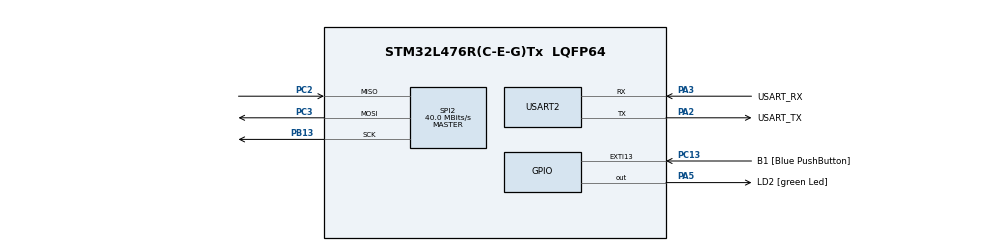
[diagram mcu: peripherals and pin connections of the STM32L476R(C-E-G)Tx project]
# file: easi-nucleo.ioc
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Mcu.Family=STM32L4
Mcu.Name=STM32L476R(C-E-G)Tx
Mcu.Package=LQFP64
NVIC.PriorityGroup=NVIC_PRIORITYGROUP_4
PA13\ (JTMS-SWDIO).GPIO_Label=TMS
PA13\ (JTMS-SWDIO).Mode=Serial_Wire
PA13\ (JTMS-SWDIO).Signal=SYS_JTMS-SWDIO
PA14\ (JTCK-SWCLK).GPIO_Label=TCK
PA14\ (JTCK-SWCLK).Mode=Serial_Wire
PA14\ (JTCK-SWCLK).Signal=SYS_JTCK-SWCLK
PA2.GPIO_Label=USART_TX
PA2.GPIO_Mode=GPIO_MODE_AF_PP
PA2.GPIO_PuPd=GPIO_NOPULL
PA2.GPIO_Speed=GPIO_SPEED_FREQ_VERY_HIGH
PA2.Mode=Asynchronous
PA2.Signal=USART2_TX
PA3.GPIO_Label=USART_RX
PA3.GPIO_Mode=GPIO_MODE_AF_PP
PA3.GPIO_PuPd=GPIO_NOPULL
PA3.GPIO_Speed=GPIO_SPEED_FREQ_VERY_HIGH
PA3.Mode=Asynchronous
PA3.Signal=USART2_RX
PA5.GPIO_Label=LD2 [green Led]
PA5.GPIO_ModeDefaultOutputPP=GPIO_MODE_OUTPUT_PP
PA5.GPIO_PuPd=GPIO_NOPULL
PA5.GPIO_Speed=GPIO_SPEED_FREQ_LOW
PA5.Signal=GPIO_Output
PB13.Mode=Full_Duplex_Master
PB13.Signal=SPI2_SCK
PB3\ (JTDO-TRACESWO).GPIO_Label=SWO
PB3\ (JTDO-TRACESWO).Signal=SYS_JTDO-SWO
PC13.GPIO_Label=B1 [Blue PushButton]
PC13.GPIO_ModeDefaultEXTI=GPIO_MODE_IT_FALLING
PC13.GPIO_PuPd=GPIO_NOPULL
PC13.Signal=GPXTI13
PC14-OSC32_IN\ (PC14).Mode=LSE-External-Oscillator
PC14-OSC32_IN\ (PC14).Signal=RCC_OSC32_IN
PC15-OSC32_OUT\ (PC15).Mode=LSE-External-Oscillator
PC15-OSC32_OUT\ (PC15).Signal=RCC_OSC32_OUT
PC2.Mode=Full_Duplex_Master
PC2.Signal=SPI2_MISO
PC3.Mode=Full_Duplex_Master
PC3.Signal=SPI2_MOSI
PH0-OSC_IN\ (PH0).Signal=RCC_OSC_IN
PH1-OSC_OUT\ (PH1).Signal=RCC_OSC_OUT
ProjectManager.HeapSize=0x200
ProjectManager.StackSize=0x400
ProjectManager.TargetToolchain=Makefile
RCC.ADCFreq_Value=64000000
RCC.AHBFreq_Value=80000000
RCC.APB1Freq_Value=80000000
RCC.APB1TimFreq_Value=80000000
RCC.APB2Freq_Value=80000000
RCC.APB2TimFreq_Value=80000000
RCC.CortexFreq_Value=80000000
RCC.HCLKFreq_Value=80000000
RCC.HSE_VALUE=8000000
RCC.HSI_VALUE=16000000
RCC.MSI_VALUE=4000000
RCC.PLLN=10
RCC.PLLSourceVirtual=RCC_PLLSOURCE_HSI
RCC.PREFETCH_ENABLE=1
RCC.SYSCLKFreq_VALUE=80000000
RCC.SYSCLKSource=RCC_SYSCLKSOURCE_PLLCLK
RCC.USBFreq_Value=64000000
RCC.VCOOutputFreq_Value=160000000
SPI2.CalculateBaudRate=40.0 MBits/s
SPI2.Direction=SPI_DIRECTION_2LINES
SPI2.Mode=SPI_MODE_MASTER
SPI2.VirtualType=VM_MASTER
USART2.VirtualMode-Asynchronous=VM_ASYNC
board=NUCLEO-L476RG

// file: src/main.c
/* USER CODE BEGIN Header */
/**
  ******************************************************************************
  * @file           : main.c
  * @brief          : Main program body
  ******************************************************************************
  * @attention
  *
  * <h2><center>&copy; Copyright (c) 2020 STMicroelectronics.
  * All rights reserved.</center></h2>
  *
  * This software component is licensed by ST under BSD 3-Clause license,
  * the "License"; You may not use this file except in compliance with the
  * License. You may obtain a copy of the License at:
  *                        opensource.org/licenses/BSD-3-Clause
  *
  ******************************************************************************
  */
/* USER CODE END Header */
#include "main.h"

/* USER CODE BEGIN Includes */
#include <math.h>

#include "epd.h"
#include "epdgl.h"

#include "util.h"
/* USER CODE END Includes */

void SystemClock_Config(void);
static void MX_GPIO_Init(void);
static void MX_SPI2_Init(void);
static void MX_USART2_UART_Init(void);

/* USER CODE BEGIN 0 */
text_config_t fnt = {&Consolas14, EPD_BLACK};
/* USER CODE END 0 */

int main(void)
{

  /* MCU Configuration--------------------------------------------------------*/

  /* Reset of all peripherals, Initializes the Flash interface and the Systick. */

  LL_APB2_GRP1_EnableClock(LL_APB2_GRP1_PERIPH_SYSCFG);
  LL_APB1_GRP1_EnableClock(LL_APB1_GRP1_PERIPH_PWR);

  NVIC_SetPriorityGrouping(NVIC_PRIORITYGROUP_4);

  /* System interrupt init*/

  /* Configure the system clock */
  SystemClock_Config();

  /* Initialize all configured peripherals */
  MX_GPIO_Init();
  MX_SPI2_Init();
  MX_USART2_UART_Init();
  /* USER CODE BEGIN 2 */
  epd_init();
  epdgl_init();

  double pi = 3.1415;
  double pi2 = pi * pi;

  writepin(GPIOA, LL_GPIO_PIN_5, 1);

  if (readpin(LD2_GPIO_Port, LD2_Pin)) {
    epdgl_draw_string("LD2 HI\nnewline\t", &fnt);
    epdgl_draw_int((int)sqrt(pi2), &fnt);
  } else {
    epdgl_draw_string("LD2 LO", &fnt);
  }
  while(!epdgl_update_screen(EPD_FAST));
  /* USER CODE END 2 */

  /* Infinite loop */
  while (1)
  {

  }
}

void SystemClock_Config(void)
{
  LL_FLASH_SetLatency(LL_FLASH_LATENCY_4);
  while(LL_FLASH_GetLatency()!= LL_FLASH_LATENCY_4)
  {
  }
  LL_PWR_SetRegulVoltageScaling(LL_PWR_REGU_VOLTAGE_SCALE1);
  LL_RCC_HSI_Enable();

   /* Wait till HSI is ready */
  while(LL_RCC_HSI_IsReady() != 1)
  {

  }
  LL_RCC_HSI_SetCalibTrimming(16);
  LL_RCC_PLL_ConfigDomain_SYS(LL_RCC_PLLSOURCE_HSI, LL_RCC_PLLM_DIV_1, 10, LL_RCC_PLLR_DIV_2);
  LL_RCC_PLL_EnableDomain_SYS();
  LL_RCC_PLL_Enable();

   /* Wait till PLL is ready */
  while(LL_RCC_PLL_IsReady() != 1)
  {

  }
  LL_RCC_SetSysClkSource(LL_RCC_SYS_CLKSOURCE_PLL);

   /* Wait till System clock is ready */
  while(LL_RCC_GetSysClkSource() != LL_RCC_SYS_CLKSOURCE_STATUS_PLL)
  {

  }
  LL_RCC_SetAHBPrescaler(LL_RCC_SYSCLK_DIV_1);
  LL_RCC_SetAPB1Prescaler(LL_RCC_APB1_DIV_1);
  LL_RCC_SetAPB2Prescaler(LL_RCC_APB2_DIV_1);

  LL_Init1msTick(80000000);

  LL_SetSystemCoreClock(80000000);
  LL_RCC_SetUSARTClockSource(LL_RCC_USART2_CLKSOURCE_PCLK1);
}

static void MX_SPI2_Init(void)
{

  LL_SPI_InitTypeDef SPI_InitStruct = {0};

  LL_GPIO_InitTypeDef GPIO_InitStruct = {0};

  /* Peripheral clock enable */
  LL_APB1_GRP1_EnableClock(LL_APB1_GRP1_PERIPH_SPI2);

  LL_AHB2_GRP1_EnableClock(LL_AHB2_GRP1_PERIPH_GPIOC);
  LL_AHB2_GRP1_EnableClock(LL_AHB2_GRP1_PERIPH_GPIOB);
  /**SPI2 GPIO Configuration
  PC3   ------> SPI2_MOSI
  PB13   ------> SPI2_SCK
  */
  GPIO_InitStruct.Pin = LL_GPIO_PIN_3;
  GPIO_InitStruct.Mode = LL_GPIO_MODE_ALTERNATE;
  GPIO_InitStruct.Speed = LL_GPIO_SPEED_FREQ_VERY_HIGH;
  GPIO_InitStruct.OutputType = LL_GPIO_OUTPUT_PUSHPULL;
  GPIO_InitStruct.Pull = LL_GPIO_PULL_NO;
  GPIO_InitStruct.Alternate = LL_GPIO_AF_5;
  LL_GPIO_Init(GPIOC, &GPIO_InitStruct);

  GPIO_InitStruct.Pin = LL_GPIO_PIN_13;
  GPIO_InitStruct.Mode = LL_GPIO_MODE_ALTERNATE;
  GPIO_InitStruct.Speed = LL_GPIO_SPEED_FREQ_VERY_HIGH;
  GPIO_InitStruct.OutputType = LL_GPIO_OUTPUT_PUSHPULL;
  GPIO_InitStruct.Pull = LL_GPIO_PULL_NO;
  GPIO_InitStruct.Alternate = LL_GPIO_AF_5;
  LL_GPIO_Init(GPIOB, &GPIO_InitStruct);

  /* SPI2 parameter configuration*/
  SPI_InitStruct.TransferDirection = LL_SPI_FULL_DUPLEX;
  SPI_InitStruct.Mode = LL_SPI_MODE_MASTER;
  SPI_InitStruct.DataWidth = LL_SPI_DATAWIDTH_8BIT;
  SPI_InitStruct.ClockPolarity = LL_SPI_POLARITY_LOW;
  SPI_InitStruct.ClockPhase = LL_SPI_PHASE_1EDGE;
  SPI_InitStruct.NSS = LL_SPI_NSS_SOFT;
  SPI_InitStruct.BaudRate = LL_SPI_BAUDRATEPRESCALER_DIV8;
  SPI_InitStruct.BitOrder = LL_SPI_MSB_FIRST;
  SPI_InitStruct.CRCCalculation = LL_SPI_CRCCALCULATION_DISABLE;
  SPI_InitStruct.CRCPoly = 7;
  LL_SPI_Init(SPI2, &SPI_InitStruct);
  LL_SPI_SetStandard(SPI2, LL_SPI_PROTOCOL_MOTOROLA);
  LL_SPI_EnableNSSPulseMgt(SPI2);
  LL_SPI_Enable(SPI2);

}

static void MX_USART2_UART_Init(void)
{

  LL_USART_InitTypeDef USART_InitStruct = {0};

  LL_GPIO_InitTypeDef GPIO_InitStruct = {0};

  /* Peripheral clock enable */
  LL_APB1_GRP1_EnableClock(LL_APB1_GRP1_PERIPH_USART2);

  LL_AHB2_GRP1_EnableClock(LL_AHB2_GRP1_PERIPH_GPIOA);
  /**USART2 GPIO Configuration
  PA2   ------> USART2_TX
  PA3   ------> USART2_RX
  */
  GPIO_InitStruct.Pin = USART_TX_Pin|USART_RX_Pin;
  GPIO_InitStruct.Mode = LL_GPIO_MODE_ALTERNATE;
  GPIO_InitStruct.Speed = LL_GPIO_SPEED_FREQ_VERY_HIGH;
  GPIO_InitStruct.OutputType = LL_GPIO_OUTPUT_PUSHPULL;
  GPIO_InitStruct.Pull = LL_GPIO_PULL_NO;
  GPIO_InitStruct.Alternate = LL_GPIO_AF_7;
  LL_GPIO_Init(GPIOA, &GPIO_InitStruct);

  USART_InitStruct.BaudRate = 115200;
  USART_InitStruct.DataWidth = LL_USART_DATAWIDTH_8B;
  USART_InitStruct.StopBits = LL_USART_STOPBITS_1;
  USART_InitStruct.Parity = LL_USART_PARITY_NONE;
  USART_InitStruct.TransferDirection = LL_USART_DIRECTION_TX_RX;
  USART_InitStruct.HardwareFlowControl = LL_USART_HWCONTROL_NONE;
  USART_InitStruct.OverSampling = LL_USART_OVERSAMPLING_16;
  LL_USART_Init(USART2, &USART_InitStruct);
  LL_USART_ConfigAsyncMode(USART2);
  LL_USART_Enable(USART2);

}

static void MX_GPIO_Init(void)
{
  LL_EXTI_InitTypeDef EXTI_InitStruct = {0};
  LL_GPIO_InitTypeDef GPIO_InitStruct = {0};

  /* GPIO Ports Clock Enable */
  LL_AHB2_GRP1_EnableClock(LL_AHB2_GRP1_PERIPH_GPIOC);
  LL_AHB2_GRP1_EnableClock(LL_AHB2_GRP1_PERIPH_GPIOH);
  LL_AHB2_GRP1_EnableClock(LL_AHB2_GRP1_PERIPH_GPIOA);
  LL_AHB2_GRP1_EnableClock(LL_AHB2_GRP1_PERIPH_GPIOB);

  /**/
  LL_GPIO_ResetOutputPin(EPD_GPIO_Port, EPD_RST_Pin|EPD_DC_Pin);
  LL_GPIO_ResetOutputPin(LD2_GPIO_Port, LD2_Pin);

  /**/
  LL_SYSCFG_SetEXTISource(LL_SYSCFG_EXTI_PORTC, LL_SYSCFG_EXTI_LINE13);

  /**/
  EXTI_InitStruct.Line_0_31 = LL_EXTI_LINE_13;
  EXTI_InitStruct.Line_32_63 = LL_EXTI_LINE_NONE;
  EXTI_InitStruct.LineCommand = ENABLE;
  EXTI_InitStruct.Mode = LL_EXTI_MODE_IT;
  EXTI_InitStruct.Trigger = LL_EXTI_TRIGGER_FALLING;
  LL_EXTI_Init(&EXTI_InitStruct);

  /**/
  LL_GPIO_SetPinPull(B1_GPIO_Port, B1_Pin, LL_GPIO_PULL_NO);

  /**/
  LL_GPIO_SetPinMode(B1_GPIO_Port, B1_Pin, LL_GPIO_MODE_INPUT);

  /**/
  GPIO_InitStruct.Pin = EPD_RST_Pin;
  GPIO_InitStruct.Mode = LL_GPIO_MODE_OUTPUT;
  GPIO_InitStruct.Speed = LL_GPIO_SPEED_FREQ_VERY_HIGH;
  GPIO_InitStruct.OutputType = LL_GPIO_OUTPUT_PUSHPULL;
  GPIO_InitStruct.Pull = LL_GPIO_PULL_NO;
  LL_GPIO_Init(EPD_GPIO_Port, &GPIO_InitStruct);

  /**/
  GPIO_InitStruct.Pin = EPD_DC_Pin;
  GPIO_InitStruct.Mode = LL_GPIO_MODE_OUTPUT;
  // D/C pin switches at ~1/8th the rate of SPI Data
  GPIO_InitStruct.Speed = LL_GPIO_SPEED_FREQ_VERY_HIGH;
  GPIO_InitStruct.OutputType = LL_GPIO_OUTPUT_PUSHPULL;
  GPIO_InitStruct.Pull = LL_GPIO_PULL_NO;
  LL_GPIO_Init(EPD_GPIO_Port, &GPIO_InitStruct);

  /**/
  GPIO_InitStruct.Pin = EPD_BSY_Pin;
  GPIO_InitStruct.Mode = LL_GPIO_MODE_INPUT;
  GPIO_InitStruct.Speed = LL_GPIO_SPEED_FREQ_VERY_HIGH;
  GPIO_InitStruct.OutputType = LL_GPIO_OUTPUT_PUSHPULL;
  GPIO_InitStruct.Pull = LL_GPIO_PULL_NO;
  LL_GPIO_Init(EPD_GPIO_Port, &GPIO_InitStruct);

  /**/
  GPIO_InitStruct.Pin = LD2_Pin;
  GPIO_InitStruct.Mode = LL_GPIO_MODE_OUTPUT;
  GPIO_InitStruct.Speed = LL_GPIO_SPEED_FREQ_LOW;
  GPIO_InitStruct.OutputType = LL_GPIO_OUTPUT_PUSHPULL;
  GPIO_InitStruct.Pull = LL_GPIO_PULL_NO;
  LL_GPIO_Init(LD2_GPIO_Port, &GPIO_InitStruct);

  // /**/
  // GPIO_InitStruct.Pin = KBD_COL_Pins;
  // GPIO_InitStruct.Mode = LL_GPIO_MODE_OUTPUT;
  // GPIO_InitStruct.Speed = LL_GPIO_SPEED_FREQ_LOW;
  // GPIO_InitStruct.OutputType = LL_GPIO_OUTPUT_PUSHPULL;
  // GPIO_InitStruct.Pull = LL_GPIO_PULL_NO;
  // LL_GPIO_Init(KBD_COL_Port, &GPIO_InitStruct);

  // /**/
  // GPIO_InitStruct.Pin = KBD_ROW_Pins;
  // GPIO_InitStruct.Mode = LL_GPIO_MODE_INPUT;
  // GPIO_InitStruct.Speed = LL_GPIO_SPEED_FREQ_LOW;
  // GPIO_InitStruct.OutputType = LL_GPIO_OUTPUT_PUSHPULL;
  // GPIO_InitStruct.Pull = LL_GPIO_PULL_NO;
  // LL_GPIO_Init(KBD_ROW_Port, &GPIO_InitStruct);

}

void Error_Handler(void)
{
  __disable_irq();
  while (1)
  {
  }
}

/************************ (C) COPYRIGHT STMicroelectronics *****END OF FILE****/
